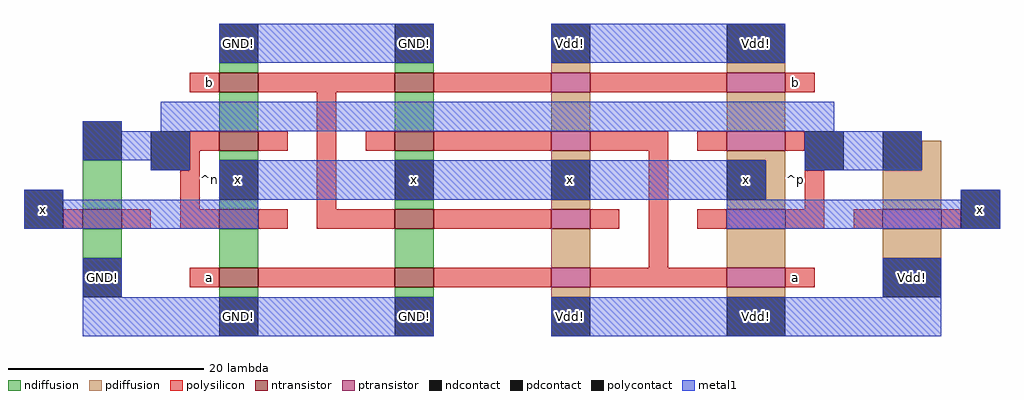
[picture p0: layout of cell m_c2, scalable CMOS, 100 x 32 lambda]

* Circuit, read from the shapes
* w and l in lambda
.subckt m_c2 GND! Vdd! a b x
M1 n1 x GND! VSUBS nfet w=4 l=2
M2 n2 a GND! VSUBS nfet w=4 l=2
M3 x n1 n2 VSUBS nfet w=4 l=2
M4 n3 n1 x VSUBS nfet w=4 l=2
M5 GND! b n3 VSUBS nfet w=4 l=2
M6 n4 a GND! VSUBS nfet w=4 l=2
M7 x b n4 VSUBS nfet w=4 l=2
M8 n5 a x VSUBS nfet w=4 l=2
M9 GND! b n5 VSUBS nfet w=4 l=2
M10 n6 a Vdd! NWELL pfet w=4 l=2
M11 x b n6 NWELL pfet w=4 l=2
M12 n7 a x NWELL pfet w=4 l=2
M13 Vdd! b n7 NWELL pfet w=4 l=2
M14 n8 a Vdd! NWELL pfet w=6 l=2
M15 x n1 n8 NWELL pfet w=6 l=2
M16 n9 n1 x NWELL pfet w=6 l=2
M17 Vdd! b n9 NWELL pfet w=6 l=2
M18 n1 x Vdd! NWELL pfet w=6 l=2
.ends

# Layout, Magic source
magic
tech scmos
<< ndiffusion >>
rect -101 353 -97 354
rect -83 353 -79 354
rect -101 347 -97 351
rect -115 339 -111 344
rect -101 344 -97 345
rect -101 339 -97 340
rect -83 347 -79 351
rect -83 344 -79 345
rect -83 339 -79 340
rect -115 334 -111 337
rect -101 333 -97 337
rect -83 333 -79 337
rect -101 330 -97 331
rect -83 330 -79 331
<< pdiffusion >>
rect -67 353 -63 354
rect -49 353 -43 354
rect -67 347 -63 351
rect -49 347 -43 351
rect -67 344 -63 345
rect -67 339 -63 340
rect -67 333 -63 337
rect -49 344 -43 345
rect -45 340 -43 344
rect -49 339 -43 340
rect -29 343 -27 346
rect -33 339 -27 343
rect -49 333 -43 337
rect -33 334 -27 337
rect -67 330 -63 331
rect -49 330 -43 331
<< ntransistor >>
rect -101 351 -97 353
rect -83 351 -79 353
rect -101 345 -97 347
rect -83 345 -79 347
rect -115 337 -111 339
rect -101 337 -97 339
rect -83 337 -79 339
rect -101 331 -97 333
rect -83 331 -79 333
<< ptransistor >>
rect -67 351 -63 353
rect -49 351 -43 353
rect -67 345 -63 347
rect -49 345 -43 347
rect -67 337 -63 339
rect -49 337 -43 339
rect -33 337 -27 339
rect -67 331 -63 333
rect -49 331 -43 333
<< polysilicon >>
rect -104 351 -101 353
rect -97 351 -83 353
rect -79 351 -67 353
rect -63 351 -49 353
rect -43 351 -40 353
rect -104 345 -101 347
rect -97 345 -94 347
rect -104 343 -103 345
rect -105 339 -103 343
rect -91 339 -89 351
rect -86 345 -83 347
rect -79 345 -67 347
rect -63 345 -55 347
rect -52 345 -49 347
rect -43 345 -41 347
rect -117 337 -115 339
rect -111 337 -108 339
rect -105 337 -101 339
rect -97 337 -94 339
rect -91 337 -83 339
rect -79 337 -67 339
rect -63 337 -60 339
rect -57 333 -55 345
rect -41 339 -39 343
rect -52 337 -49 339
rect -43 337 -39 339
rect -36 337 -33 339
rect -27 337 -25 339
rect -104 331 -101 333
rect -97 331 -83 333
rect -79 331 -67 333
rect -63 331 -49 333
rect -43 331 -40 333
<< ndcontact >>
rect -101 354 -97 358
rect -83 354 -79 358
rect -115 344 -111 348
rect -101 340 -97 344
rect -83 340 -79 344
rect -115 330 -111 334
rect -101 326 -97 330
rect -83 326 -79 330
<< pdcontact >>
rect -67 354 -63 358
rect -49 354 -43 358
rect -67 340 -63 344
rect -49 340 -45 344
rect -33 343 -29 347
rect -67 326 -63 330
rect -33 330 -27 334
rect -49 326 -43 330
<< polycontact >>
rect -121 337 -117 341
rect -108 343 -104 347
rect -41 343 -37 347
rect -25 337 -21 341
<< metal1 >>
rect -101 354 -79 358
rect -67 354 -43 358
rect -115 347 -111 348
rect -107 347 -38 350
rect -115 344 -104 347
rect -108 343 -104 344
rect -121 340 -117 341
rect -101 340 -45 344
rect -41 343 -29 347
rect -25 340 -21 341
rect -121 337 -97 340
rect -49 337 -21 340
rect -115 330 -111 334
rect -33 330 -27 334
rect -115 326 -79 330
rect -67 326 -27 330
<< labels >>
rlabel polysilicon -102 352 -102 352 3 b
rlabel polysilicon -102 332 -102 332 1 a
rlabel polysilicon -42 332 -42 332 1 a
rlabel polysilicon -42 352 -42 352 1 b
rlabel space -64 325 -20 359 3 ^p
rlabel space -122 325 -82 359 7 ^n
rlabel ndcontact -81 342 -81 342 1 x
rlabel ndcontact -81 328 -81 328 1 GND!
rlabel pdcontact -65 342 -65 342 1 x
rlabel pdcontact -65 328 -65 328 1 Vdd!
rlabel ndcontact -81 356 -81 356 5 GND!
rlabel pdcontact -65 356 -65 356 5 Vdd!
rlabel ndcontact -99 328 -99 328 1 GND!
rlabel ndcontact -99 356 -99 356 5 GND!
rlabel pdcontact -47 342 -47 342 1 x
rlabel pdcontact -46 328 -46 328 1 Vdd!
rlabel pdcontact -46 356 -46 356 5 Vdd!
rlabel pdcontact -30 332 -30 332 3 Vdd!
rlabel polycontact -23 339 -23 339 7 x
rlabel ndcontact -99 342 -99 342 1 x
rlabel ndcontact -113 332 -113 332 1 GND!
rlabel polycontact -119 339 -119 339 3 x
<< end >>
